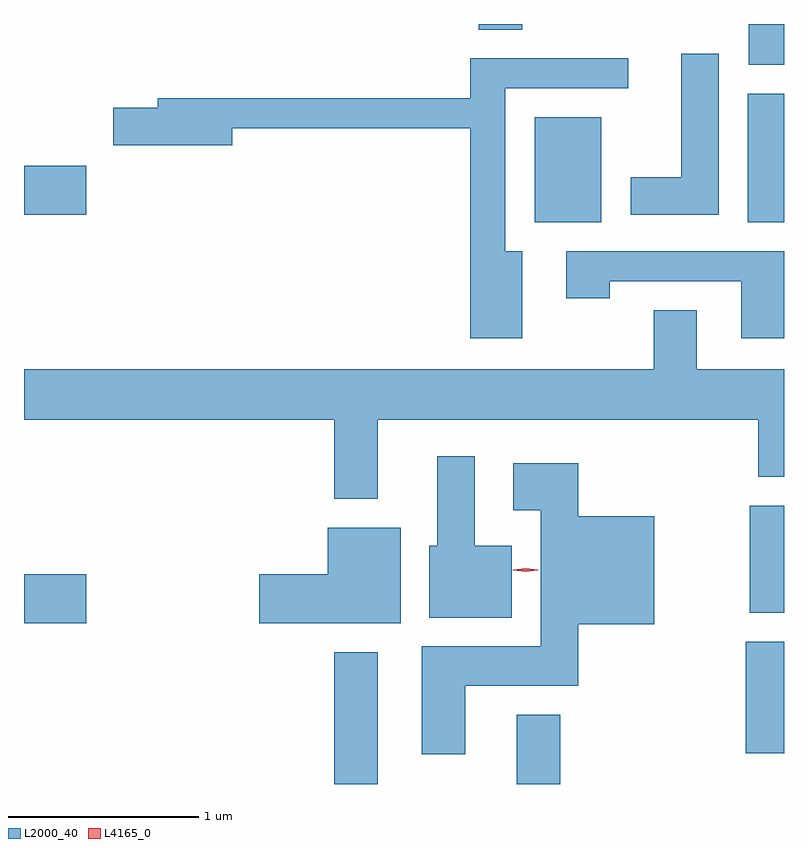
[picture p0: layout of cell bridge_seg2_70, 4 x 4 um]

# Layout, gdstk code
import gdstk
lib = gdstk.Library(unit=1e-6, precision=1e-09)
def R(c, l, rs):  # rectangles x0, y0, x1, y1
    for r in rs: c.add(gdstk.rectangle(r[:2], r[2:], *l))
def P(c, l, *ps):  # polygons
    for p in ps: c.add(gdstk.Polygon(p, *l))
L2000_40 = (2000, 40)
L4165_0 = (4165, 0)

bridge_seg2_70 = lib.new_cell('bridge_seg2_70')
R(bridge_seg2_70, L2000_40, [(1107.761,1066.38,1107.989,1067.074), (1108.721,1066.38,1108.949,1066.744), (1109.926,1066.541,1110.127,1067.129), (1106.127,1067.226,1106.454,1067.484), (1109.946,1067.281,1110.127,1067.844), (1108.816,1069.336,1109.164,1069.889), (1109.936,1069.336,1110.127,1070.014), (1106.127,1069.376,1106.454,1069.634), (1109.941,1070.166,1110.127,1070.38), (1108.521,1070.351,1108.749,1070.38)])
P(bridge_seg2_70, L2000_40, [(1109.784,1070.224),(1109.586,1070.224),(1109.586,1069.574),(1109.321,1069.574),(1109.321,1069.376),(1109.784,1069.376)],
  [(1108.749,1069.184),(1108.659,1069.184),(1108.659,1070.041),(1109.308,1070.041),(1109.308,1070.199),(1108.476,1070.199),(1108.476,1069.989),(1106.831,1069.989),(1106.831,1069.939),(1106.596,1069.939),(1106.596,1069.741),(1107.224,1069.741),(1107.224,1069.831),(1108.476,1069.831),(1108.476,1068.726),(1108.749,1068.726)],
  [(1110.127,1069.184),(1108.981,1069.184),(1108.981,1068.936),(1109.209,1068.936),(1109.209,1069.026),(1109.901,1069.026),(1109.901,1068.726),(1110.127,1068.726)],
  [(1107.989,1068.296),(1109.991,1068.296),(1109.991,1067.996),(1110.127,1067.996),(1110.127,1068.564),(1109.669,1068.564),(1109.669,1068.874),(1109.441,1068.874),(1109.441,1068.564),(1106.127,1068.564),(1106.127,1068.296),(1107.761,1068.296),(1107.761,1067.881),(1107.989,1067.881)],
  [(1108.694,1067.634),(1108.499,1067.634),(1108.499,1068.104),(1108.301,1068.104),(1108.301,1067.634),(1108.261,1067.634),(1108.261,1067.256),(1108.694,1067.256)],
  [(1108.449,1066.896),(1109.044,1066.896),(1109.044,1067.221),(1109.444,1067.221),(1109.444,1067.789),(1109.044,1067.789),(1109.044,1068.069),(1108.701,1068.069),(1108.701,1067.821),(1108.846,1067.821),(1108.846,1067.104),(1108.221,1067.104),(1108.221,1066.536),(1108.449,1066.536)],
  [(1108.109,1067.729),(1107.726,1067.729),(1107.726,1067.484),(1107.366,1067.484),(1107.366,1067.226),(1108.109,1067.226)])
P(bridge_seg2_70, L4165_0, [(1108.767,1067.496),(1108.703,1067.506),(1108.702,1067.506),(1108.703,1067.507),(1108.767,1067.516),(1108.832,1067.507),(1108.833,1067.506),(1108.832,1067.506)])

lib.write_gds('bridge_seg2_70.gds')
